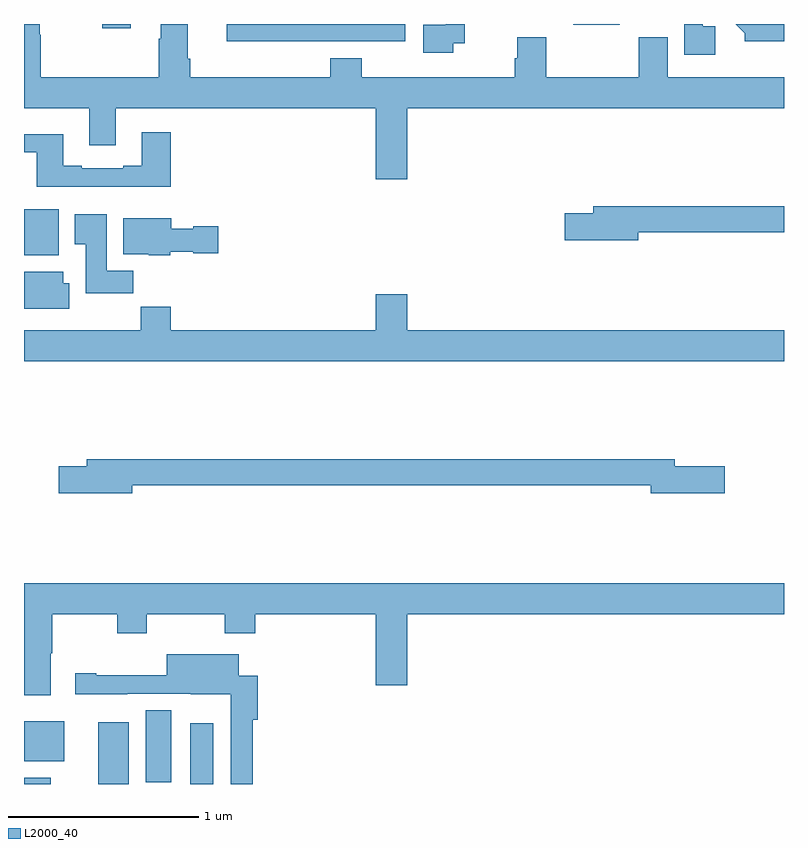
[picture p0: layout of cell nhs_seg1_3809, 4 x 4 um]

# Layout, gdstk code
import gdstk
lib = gdstk.Library(unit=1e-6, precision=1e-09)
def R(c, l, rs):  # rectangles x0, y0, x1, y1
    for r in rs: c.add(gdstk.rectangle(r[:2], r[2:], *l))
def P(c, l, *ps):  # polygons
    for p in ps: c.add(gdstk.Polygon(p, *l))
L2000_40 = (2000, 40)

nhs_seg1_3809 = lib.new_cell('nhs_seg1_3809')
R(nhs_seg1_3809, L2000_40, [(319,524.199,319.141,524.233), (319.391,524.199,319.552,524.524), (319.874,524.199,319.996,524.518), (319.64,524.208,319.774,524.588), (319,524.318,319.213,524.53), (319,526.982,319.183,527.224), (319.413,528.177,319.561,528.199), (321.892,528.194,322.135,528.199)])
P(nhs_seg1_3809, L2000_40, [(319.083,528.143),(319.083,528.199),(319,528.199),(319,527.756),(319.343,527.756),(319.343,527.562),(319.483,527.562),(319.483,527.756),(320.852,527.756),(320.852,527.382),(321.016,527.382),(321.016,527.756),(323,527.756),(323,527.92),(322.387,527.92),(322.387,528.128),(322.235,528.128),(322.235,527.92),(321.749,527.92),(321.749,528.128),(321.596,528.128),(321.596,528.018),(321.584,528.018),(321.584,527.92),(320.777,527.92),(320.777,528.019),(320.612,528.019),(320.612,527.92),(319.874,527.92),(319.874,528.016),(319.861,528.016),(319.861,528.199),(319.721,528.199),(319.721,528.122),(319.709,528.122),(319.709,527.92),(319.088,527.92),(319.088,528.143)],
  [(323,528.199),(322.746,528.199),(322.794,528.151),(322.794,528.107),(323,528.107)],
  [(322.637,528.187),(322.572,528.187),(322.572,528.199),(322.476,528.199),(322.476,528.036),(322.637,528.036)],
  [(320.528,528.108),(321.006,528.108),(321.006,528.199),(320.066,528.199),(320.066,528.107),(320.528,528.107)],
  [(321.258,528.099),(321.32,528.099),(321.32,528.199),(321.219,528.199),(321.219,528.195),(321.102,528.195),(321.102,528.048),(321.258,528.048)],
  [(319.772,527.629),(319.619,527.629),(319.619,527.452),(319.523,527.452),(319.523,527.439),(319.303,527.439),(319.303,527.452),(319.207,527.452),(319.207,527.62),(319,527.62),(319,527.523),(319.067,527.523),(319.067,527.342),(319.772,527.342)],
  [(322.234,527.104),(323,527.104),(323,527.24),(321.995,527.24),(321.995,527.204),(321.846,527.204),(321.846,527.062),(322.234,527.062)],
  [(319.574,526.9),(319.435,526.9),(319.435,527.197),(319.268,527.197),(319.268,527.041),(319.325,527.041),(319.325,526.782),(319.574,526.782)],
  [(319.77,527),(319.89,527),(319.89,526.993),(320.023,526.993),(320.023,527.135),(319.89,527.135),(319.89,527.122),(319.774,527.122),(319.774,527.176),(319.523,527.176),(319.523,526.988),(319.656,526.988),(319.656,526.982),(319.77,526.982)],
  [(319.237,526.835),(319.207,526.835),(319.207,526.894),(319,526.894),(319,526.7),(319.237,526.7)],
  [(323,526.588),(321.016,526.588),(321.016,526.777),(320.852,526.777),(320.852,526.588),(319.772,526.588),(319.772,526.712),(319.615,526.712),(319.615,526.588),(319,526.588),(319,526.424),(323,526.424)],
  [(319.57,525.772),(322.298,525.772),(322.298,525.73),(322.687,525.73),(322.687,525.872),(322.426,525.872),(322.426,525.908),(319.331,525.908),(319.331,525.872),(319.182,525.872),(319.182,525.73),(319.57,525.73)],
  [(319.141,524.888),(319.149,524.888),(319.149,525.092),(319.492,525.092),(319.492,524.993),(319.647,524.993),(319.647,525.092),(320.056,525.092),(320.056,524.993),(320.216,524.993),(320.216,525.092),(320.852,525.092),(320.852,524.718),(321.016,524.718),(321.016,525.092),(323,525.092),(323,525.256),(319,525.256),(319,524.667),(319.141,524.667)],
  [(320.204,524.537),(320.231,524.537),(320.231,524.769),(320.131,524.769),(320.131,524.881),(319.751,524.881),(319.751,524.772),(319.381,524.772),(319.381,524.782),(319.269,524.782),(319.269,524.672),(319.544,524.672),(319.544,524.673),(319.878,524.673),(319.878,524.672),(320.088,524.672),(320.088,524.199),(320.204,524.199)])

lib.write_gds('nhs_seg1_3809.gds')
